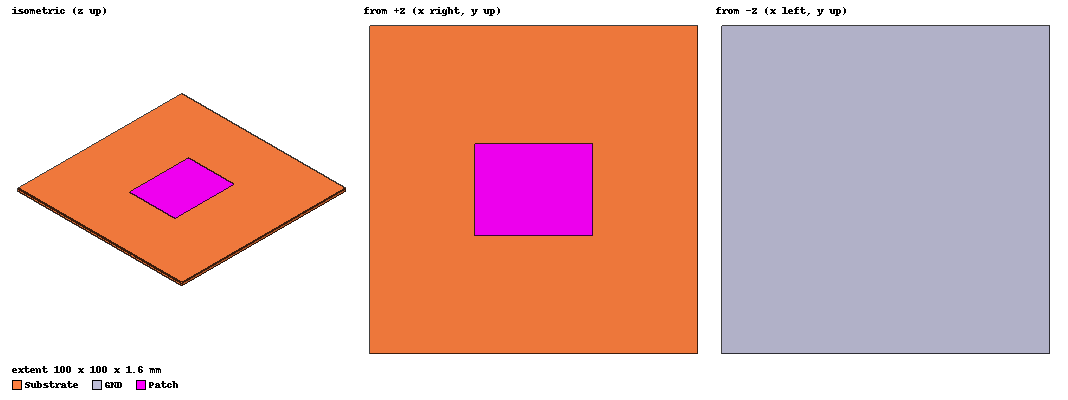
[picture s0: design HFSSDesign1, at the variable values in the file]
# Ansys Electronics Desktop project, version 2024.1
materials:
  vacuum: permittivity=1
  FR4_epoxy: permittivity=4.4 dielectric_loss_tangent=0.02

design HFSSDesign1 (HFSS, HFSS Terminal Network, model units mm)
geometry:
  GND = rectangle(corner=(-5cm, -5cm, 0cm), x_size=10cm, y_size=10cm)
  Substrate [FR4_epoxy] = box(corner=(-5cm, 5cm, 0cm), size=(10cm, -10cm, 1.6mm))
  Patch = rectangle(corner=((-36.16/2) mm, (-27.91/2) mm, 1.6mm), x_size=36.16mm, y_size=27.91mm)
